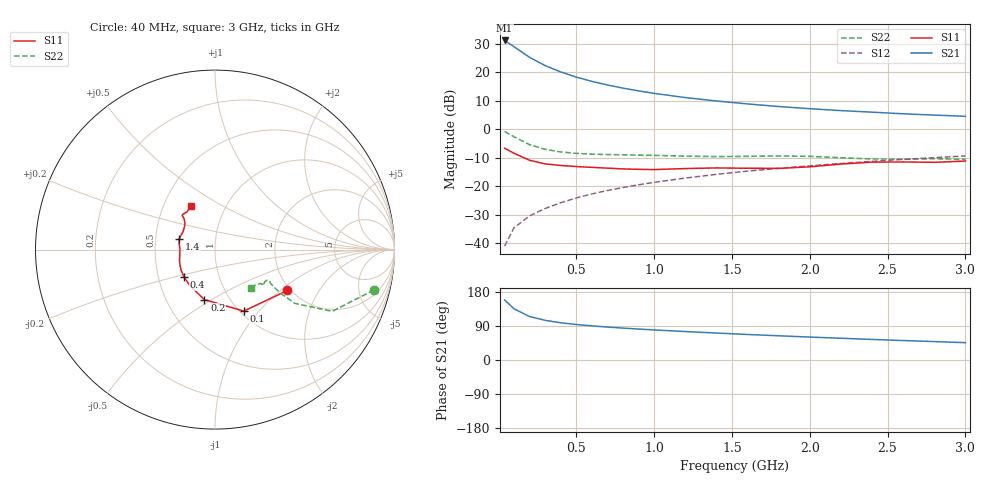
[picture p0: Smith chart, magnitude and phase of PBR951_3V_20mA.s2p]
! Filename:  PBR951G.S2P  Version:  3.0
! Philips part #:  PBR951  Date: July 1998
! Bias condition:  Vce=3V, Ic=20mA
#  MHz  S  MA  R 50
! Freq  S11  S21  S12  S22
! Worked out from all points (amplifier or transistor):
!   21 points, 40 MHz to 3 GHz, reference 50 ohm
!   highest |S21| = 31.2 dB at 40 MHz (marker M1)
!   |S21| within 3 dB of that: start of sweep to 122.1 MHz
!   unconditionally stable (mu >= 1): 640.7 MHz to 2.151 GHz
!   at 300 MHz: K = 0.88, MSG = 25.1 dB, |S12| = -27.9 dB
!   at 1 GHz: K = 1.03, MAG = 14.5 dB, |S12| = -18.7 dB
!   at 3 GHz: K = 0.96, MSG = 7.0 dB, |S12| = -9.4 dB
!   S11 on the Smith chart (normalised r, x): 40 MHz: 1.93, -1.12; 100 MHz: 1.04, -0.83; 200 MHz: 0.77, -0.46; 400 MHz: 0.68, -0.22; 1.4 GHz: 0.66, +0.08; 3 GHz: 0.69, +0.36
40  0.4631 -29.5  36.39 158.5  0.008781 80.4  0.9135 -14.3
100  0.3783 -64.9  28.34 135.1  0.01841 72.0  0.7378 -27.8
200  0.2848 -102.0  18.39 114.9  0.02987 70.6  0.5359 -34.0
300  0.2455 -124.3  13.16 104.7  0.04035 72.4  0.4438 -33.7
400  0.2304 -138.9  10.17 98.3  0.05093 73.9  0.3995 -32.7
500  0.2208 -148.8  8.257 93.7  0.06182 75.0  0.3762 -31.9
600  0.2135 -156.0  6.949 90.1  0.07267 75.9  0.3645 -31.4
700  0.207 -162.6  6.006 87.0  0.0836 76.5  0.3585 -30.8
800  0.2005 -168.7  5.282 84.2  0.0943 76.8  0.3549 -30.3
900  0.1971 -174.4  4.725 81.7  0.1054 76.7  0.3508 -29.9
1000  0.1951 179.5  4.27 79.4  0.1163 76.7  0.3469 -29.7
1200  0.2034 169.9  3.607 75.1  0.1385 76.3  0.336 -30.6
1400  0.2087 163.6  3.139 71.1  0.1608 75.6  0.3302 -32.9
1600  0.2058 158.3  2.787 67.4  0.1832 74.9  0.3337 -35.2
1800  0.2048 149.7  2.508 63.9  0.2052 74.0  0.339 -36.0
2000  0.2183 139.9  2.296 60.5  0.2272 72.9  0.3332 -35.8
2200  0.244 134.8  2.127 57.4  0.2496 71.7  0.3153 -36.8
2400  0.2638 133.9  1.995 54.3  0.2723 70.4  0.2994 -40.9
2600  0.2658 132.6  1.869 51.3  0.2942 69.2  0.2975 -45.7
2800  0.2615 126.9  1.772 48.6  0.3168 67.8  0.3025 -48.0
3000  0.2759 119.1  1.686 45.7  0.339 66.5  0.2957 -47.1
